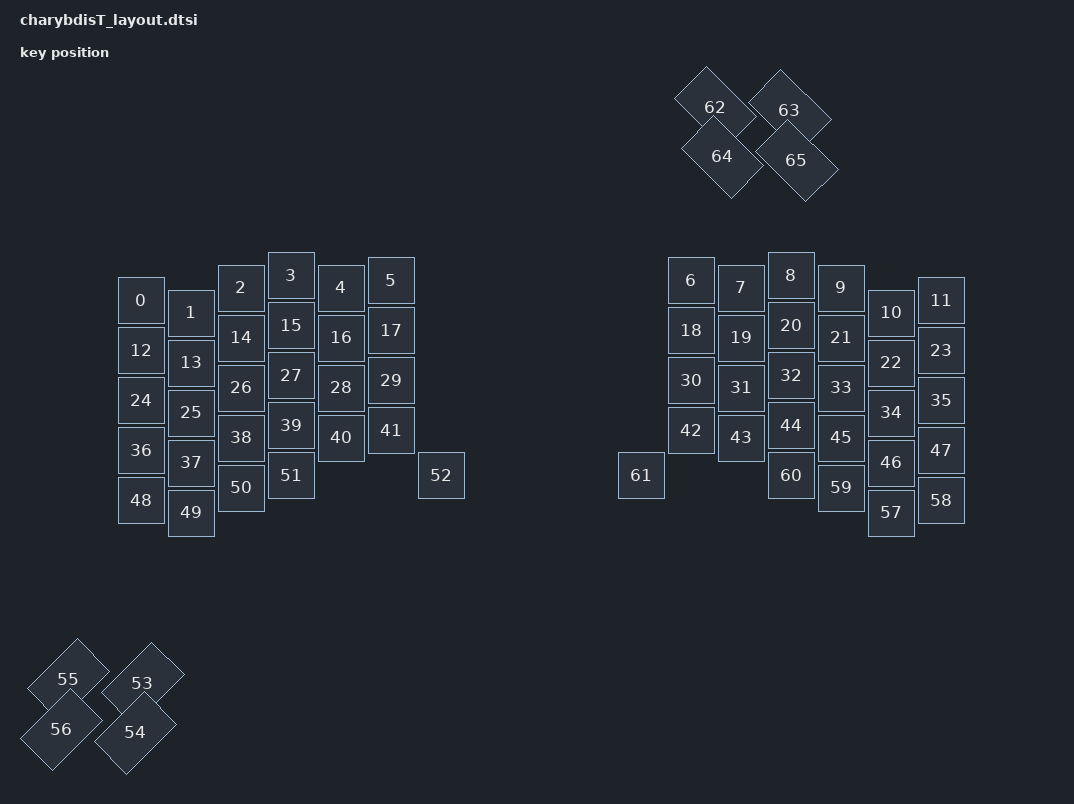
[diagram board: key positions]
#include <physical_layouts.dtsi>
/ {
    standard_physical_layout: standard_physical_layout {
        compatible = "zmk,physical-layout";
        display-name = "Standard charybdisT";
        transform = <&default_transform>; //label of matrix node
        kscan = <&kscan0>;
        keys  //                     w   h    x    y     rot    rx    ry
            = <&key_physical_attrs 100 100    0   50       0     0     0>
            , <&key_physical_attrs 100 100  100   75       0     0     0>
            , <&key_physical_attrs 100 100  200   25       0     0     0>
            , <&key_physical_attrs 100 100  300    0       0     0     0>
            , <&key_physical_attrs 100 100  400   25       0     0     0>
            , <&key_physical_attrs 100 100  500   10       0     0     0>
            , <&key_physical_attrs 100 100 1100   10       0     0     0>
            , <&key_physical_attrs 100 100 1200   25       0     0     0>
            , <&key_physical_attrs 100 100 1300    0       0     0     0>
            , <&key_physical_attrs 100 100 1400   25       0     0     0>
            , <&key_physical_attrs 100 100 1500   75       0     0     0>
            , <&key_physical_attrs 100 100 1600   50       0     0     0>
            , <&key_physical_attrs 100 100    0  150       0     0     0>
            , <&key_physical_attrs 100 100  100  175       0     0     0>
            , <&key_physical_attrs 100 100  200  125       0     0     0>
            , <&key_physical_attrs 100 100  300  100       0     0     0>
            , <&key_physical_attrs 100 100  400  125       0     0     0>
            , <&key_physical_attrs 100 100  500  110       0     0     0>
            , <&key_physical_attrs 100 100 1100  110       0     0     0>
            , <&key_physical_attrs 100 100 1200  125       0     0     0>
            , <&key_physical_attrs 100 100 1300  100       0     0     0>
            , <&key_physical_attrs 100 100 1400  125       0     0     0>
            , <&key_physical_attrs 100 100 1500  175       0     0     0>
            , <&key_physical_attrs 100 100 1600  150       0     0     0>
            , <&key_physical_attrs 100 100    0  250       0     0     0>
            , <&key_physical_attrs 100 100  100  275       0     0     0>
            , <&key_physical_attrs 100 100  200  225       0     0     0>
            , <&key_physical_attrs 100 100  300  200       0     0     0>
            , <&key_physical_attrs 100 100  400  225       0     0     0>
            , <&key_physical_attrs 100 100  500  210       0     0     0>
            , <&key_physical_attrs 100 100 1100  210       0     0     0>
            , <&key_physical_attrs 100 100 1200  225       0     0     0>
            , <&key_physical_attrs 100 100 1300  200       0     0     0>
            , <&key_physical_attrs 100 100 1400  225       0     0     0>
            , <&key_physical_attrs 100 100 1500  275       0     0     0>
            , <&key_physical_attrs 100 100 1600  250       0     0     0>
            , <&key_physical_attrs 100 100    0  350       0     0     0>
            , <&key_physical_attrs 100 100  100  375       0     0     0>
            , <&key_physical_attrs 100 100  200  325       0     0     0>
            , <&key_physical_attrs 100 100  300  300       0     0     0>
            , <&key_physical_attrs 100 100  400  325       0     0     0>
            , <&key_physical_attrs 100 100  500  310       0     0     0>
            , <&key_physical_attrs 100 100 1100  310       0     0     0>
            , <&key_physical_attrs 100 100 1200  325       0     0     0>
            , <&key_physical_attrs 100 100 1300  300       0     0     0>
            , <&key_physical_attrs 100 100 1400  325       0     0     0>
            , <&key_physical_attrs 100 100 1500  375       0     0     0>
            , <&key_physical_attrs 100 100 1600  350       0     0     0>
            , <&key_physical_attrs 100 100    0  450       0     0     0>
            , <&key_physical_attrs 100 100  100  475       0     0     0>
            , <&key_physical_attrs 100 100  200  425       0     0     0>
            , <&key_physical_attrs 100 100  300  400       0     0     0>
            , <&key_physical_attrs 100 100  600  400       0     0     0>
            , <&key_physical_attrs 100 150  600  500    4500     0     0>
            , <&key_physical_attrs 100 150  660  580    4500     0     0>
            , <&key_physical_attrs 100 150  490  600    4500     0     0>
            , <&key_physical_attrs 100 150  550  680    4500     0     0>
            , <&key_physical_attrs 100 100 1500  475       0     0     0>
            , <&key_physical_attrs 100 100 1600  450       0     0     0>
            , <&key_physical_attrs 100 100 1400  425       0     0     0>
            , <&key_physical_attrs 100 100 1300  400       0     0     0>
            , <&key_physical_attrs 100 100 1000  400       0     0     0>
            , <&key_physical_attrs 100 150 1000  570 (-4500)     0     0>
            , <&key_physical_attrs 100 150 1100  680 (-4500)     0     0>
            , <&key_physical_attrs 100 150  940  650 (-4500)     0     0>
            , <&key_physical_attrs 100 150 1040  760 (-4500)     0     0>
            ;
    };
    }
}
